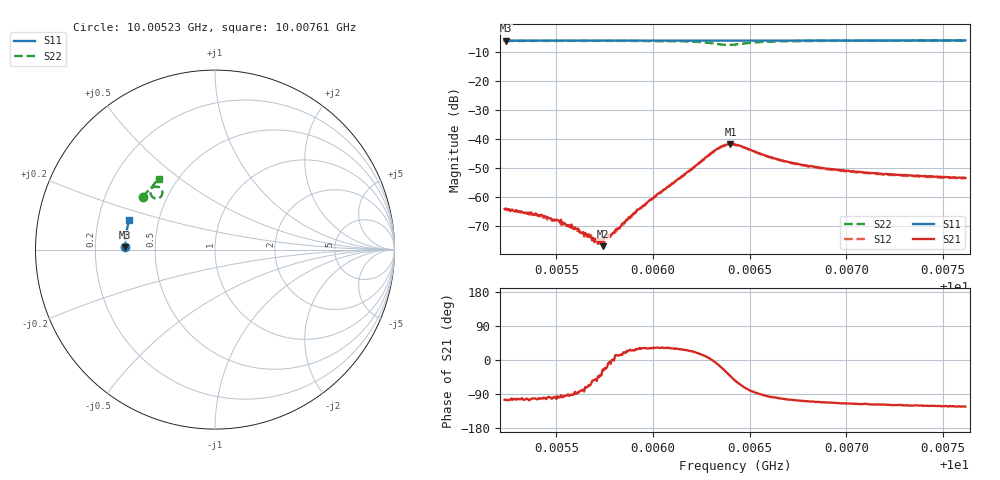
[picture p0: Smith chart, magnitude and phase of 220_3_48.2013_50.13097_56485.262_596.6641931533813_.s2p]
#  HZ  S  RI  R  50.00
! Rohde & Schwarz Vector Network Analyzer
! Rohde-Schwarz,ZNB20-2Port,1311601062101988,3.16
! Created: UTC 3/20/2024, 11:45:55 AM
! freq[Hz]  re:S11  im:S11  re:S21  im:S21  re:S12  im:S12  re:S22  im:S22
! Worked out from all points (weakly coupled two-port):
!   401 points, 10.00523 GHz to 10.00761 GHz, reference 50 ohm
!   highest |S21| = -41.73 dB at 10.0064 GHz (marker M1); lowest = -77.0 dB at 10.00574 GHz (marker M2)
!   lowest |S11| = -6.0 dB at 10.00524 GHz (marker M3), VSWR 3.00, Z = 16.7 + j0.579 ohm
!   |S11| at or under -10 dB: nowhere
!   |S22| runs from -7.5 to -6.0 dB; largest |S21 - S12| = 0.00049
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1.0005233e10  -0.5 0.0127  -0.000159 -0.0006  -0.000114 -0.000576  -0.4006 0.2917
1.0005239e10  -0.5 0.013  -0.00016 -0.000613  -0.000142 -0.000598  -0.4003 0.2921
1.0005394e10  -0.5 0.0231  -0.000106 -0.000509  -4.83e-05 -0.000484  -0.3942 0.3012
1.0005513e10  -0.4998 0.0308  -6.01e-05 -0.000389  -5.05e-06 -0.000393  -0.3888 0.3083
1.0005608e10  -0.4996 0.0372  2.15e-05 -0.000283  5.85e-05 -0.000252  -0.3844 0.3142
1.0005632e10  -0.4995 0.0387  4.28e-05 -0.000235  4.95e-05 -0.000238  -0.3833 0.3157
1.0005668e10  -0.4995 0.041  9.03e-05 -0.000209  8.05e-05 -0.000186  -0.3814 0.3177
1.0005697e10  -0.4993 0.043  9.98e-05 -0.000132  9.98e-05 -0.000142  -0.38 0.3197
1.0005727e10  -0.4992 0.0448  0.000121 -9.85e-05  0.000132 -0.000103  -0.3785 0.3216
1.0005739e10  -0.4992 0.0457  0.000128 -6.01e-05  0.00015 -8.83e-05  -0.3776 0.3222
1.0005757e10  -0.499 0.0467  0.000192 -8.01e-05  0.000166 -8.29e-05  -0.3767 0.3236
1.0005787e10  -0.499 0.0488  0.000225 -1.92e-06  0.000221 1.16e-05  -0.375 0.3255
1.0005906e10  -0.4983 0.0564  0.000473 0.000221  0.000455 0.000298  -0.3672 0.3332
1.0006031e10  -0.4976 0.0646  0.000988 0.000626  0.000943 0.000634  -0.3566 0.3418
1.0006317e10  -0.4948 0.0829  0.00625 -0.000459  0.00613 -0.000134  -0.2972 0.3334
1.0006364e10  -0.4943 0.0857  0.00703 -0.00326  0.007 -0.00285  -0.2943 0.3074
1.00064e10  -0.494 0.0878  0.00602 -0.00555  0.00616 -0.00516  -0.3074 0.2895
1.0006424e10  -0.4939 0.0891  0.00474 -0.00654  0.00496 -0.00611  -0.3206 0.2845
1.0006632e10  -0.4923 0.1023  -0.000696 -0.00455  -0.000507 -0.00449  -0.3593 0.3254
1.0006823e10  -0.4903 0.1147  -0.00111 -0.00317  -0.00101 -0.00315  -0.3513 0.3483
1.0007222e10  -0.4845 0.1397  -0.00119 -0.00219  -0.00105 -0.00215  -0.3307 0.3753
1.0007615e10  -0.4776 0.1641  -0.00116 -0.00179  -0.00104 -0.00184  -0.3105 0.395
